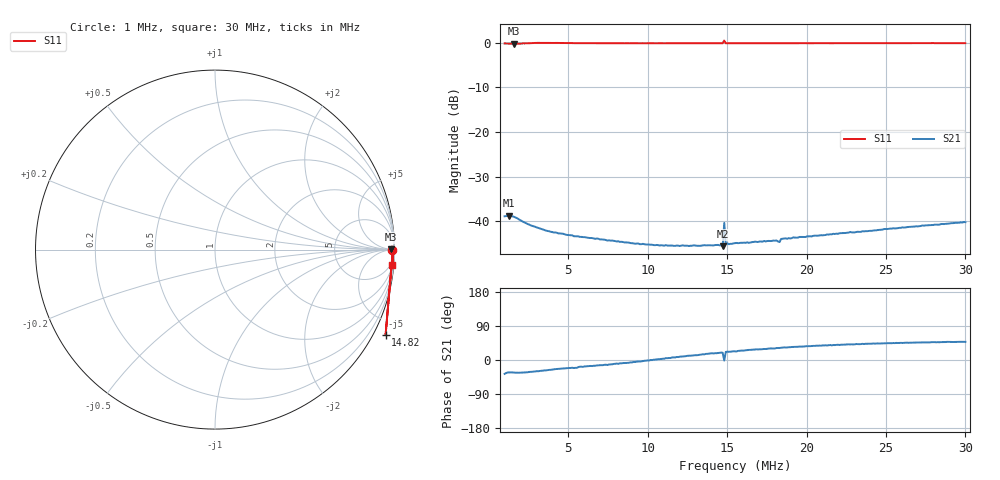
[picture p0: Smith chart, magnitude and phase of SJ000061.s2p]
!File created by NanoVNA-F V2
# Hz S RI R 50
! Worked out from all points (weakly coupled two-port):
!   301 points, 1 MHz to 30 MHz, reference 50 ohm
!   highest |S21| = -38.78 dB at 1.29 MHz (marker M1); lowest = -45.6 dB at 14.73 MHz (marker M2)
!   lowest |S11| = -0.2 dB at 1.58 MHz (marker M3), VSWR 92.94, Z = 4.6e+03 + j478 ohm
!   |S11| at or under -10 dB: nowhere
!   S12 and S22 are empty: the file has one direction only
!   S11 on the Smith chart (normalised r, x): 1 MHz: open; 14.82 MHz: -0.56, -4.17; 30 MHz: 2, -23
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1000000  0.9834 -0.00132  0.00913 -0.00678  0 0  0 0
1289998  0.9811 -0.00167  0.00968 -0.00624  0 0  0 0
1579996  0.9787 0.00219  0.0094 -0.00615  0 0  0 0
2643322  0.9944 0.00685  0.00768 -0.00468  0 0  0 0
3609982  0.9997 -0.00759  0.00698 -0.0036  0 0  0 0
5349970  0.9927 -0.0184  0.00634 -0.00246  0 0  0 0
5833300  0.9912 -0.0203  0.00637 -0.00203  0 0  0 0
9216610  0.9882 -0.0275  0.00558 -0.000513  0 0  0 0
1.06666e7  0.9881 -0.0313  0.0054 0.000189  0 0  0 0
1.259992e7  0.9872 -0.0359  0.00518 0.00103  0 0  0 0
1.443657e7  0.9879 -0.0406  0.00515 0.00172  0 0  0 0
1.472657e7  0.9878 -0.0401  0.00497 0.00172  0 0  0 0
1.482324e7  0.9504 -0.475  0.00958 -0.000253  0 0  0 0
1.49199e7  0.9878 -0.0423  0.0052 0.00203  0 0  0 0
1.54999e7  0.9883 -0.0434  0.00525 0.00221  0 0  0 0
1.636989e7  0.9874 -0.0453  0.00512 0.00257  0 0  0 0
1.810988e7  0.9889 -0.0502  0.00518 0.00319  0 0  0 0
1.830321e7  0.9882 -0.0525  0.00497 0.00308  0 0  0 0
1.839988e7  0.9892 -0.0504  0.00536 0.00338  0 0  0 0
2.03332e7  0.9886 -0.0573  0.0054 0.00408  0 0  0 0
2.51665e7  0.9881 -0.0707  0.00587 0.00576  0 0  0 0
2.99998e7  0.9874 -0.0854  0.00655 0.00725  0 0  0 0
